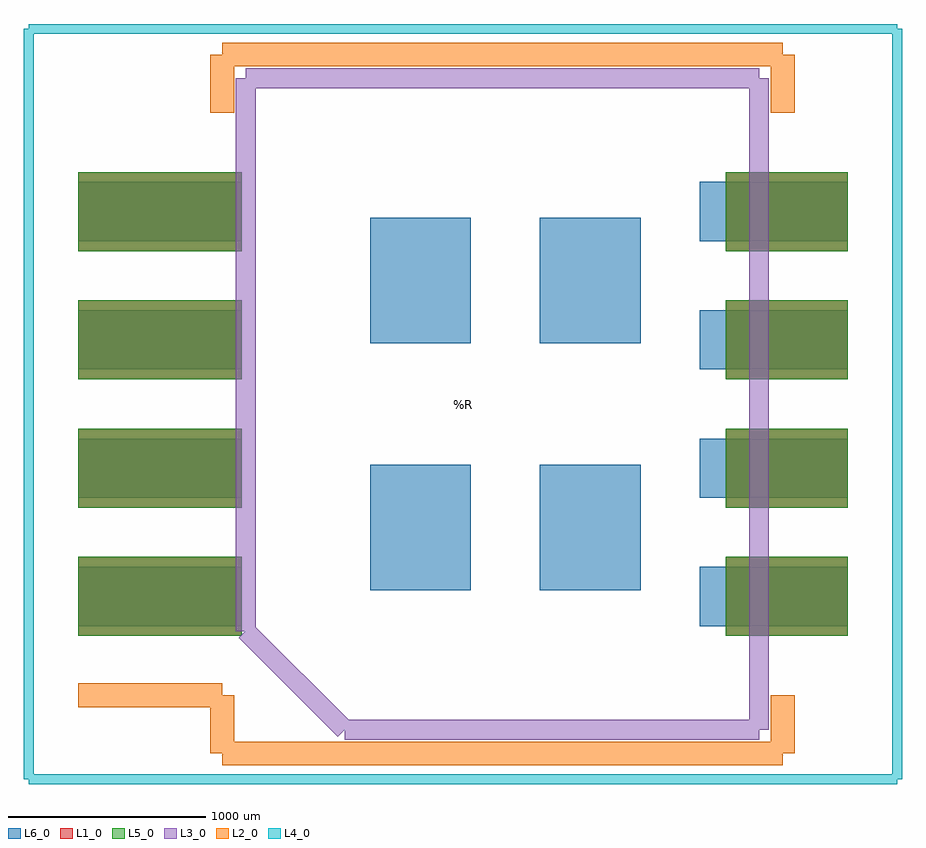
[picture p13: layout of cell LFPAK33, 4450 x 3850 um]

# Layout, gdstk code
import gdstk
lib = gdstk.Library(unit=1e-6, precision=1e-09)
def R(c, l, rs):  # rectangles x0, y0, x1, y1
    for r in rs: c.add(gdstk.rectangle(r[:2], r[2:], *l))
def A(c, l, x, y, w, h, nx, ny, dx, dy):  # array of equal rectangles
    R(c, l, [(x+i*dx, y+j*dy, x+i*dx+w, y+j*dy+h) for i in range(nx) for j in range(ny)])
L1_0 = (1, 0)
L2_0 = (2, 0)
L3_0 = (3, 0)
L4_0 = (4, 0)
L5_0 = (5, 0)
L6_0 = (6, 0)

lfpak33 = lib.new_cell('LFPAK33')
A(lfpak33, L1_0, -1950, -1175, 830, 400, 1, 4, 0, 650)
A(lfpak33, L1_0, 1330, -1175, 620, 400, 1, 4, 0, 650)
A(lfpak33, L5_0, -1950, -1175, 830, 400, 1, 4, 0, 650)
A(lfpak33, L5_0, 1330, -1175, 620, 400, 1, 4, 0, 650)
A(lfpak33, L6_0, -1950, -1125, 830, 300, 1, 4, 0, 650)
A(lfpak33, L6_0, 1200, -1125, 750, 300, 1, 4, 0, 650)
R(lfpak33, L6_0, [(-470,-944,40,-308), (390,-944,900,-308), (-470,308,40,944), (390,308,900,944)])
lfpak33.add(gdstk.FlexPath([(-1220,1475),(-1220,1770)], 120, ends="flush", simple_path=True, layer=2, datatype=0))  # L2_0
lfpak33.add(gdstk.FlexPath([(-1220,1770),(1620,1770)], 120, ends="flush", simple_path=True, layer=2, datatype=0))  # L2_0
lfpak33.add(gdstk.FlexPath([(1620,1770),(1620,1475)], 120, ends="flush", simple_path=True, layer=2, datatype=0))  # L2_0
lfpak33.add(gdstk.FlexPath([(1620,-1475),(1620,-1770)], 120, ends="flush", simple_path=True, layer=2, datatype=0))  # L2_0
lfpak33.add(gdstk.FlexPath([(1620,-1770),(-1220,-1770)], 120, ends="flush", simple_path=True, layer=2, datatype=0))  # L2_0
lfpak33.add(gdstk.FlexPath([(-1220,-1770),(-1220,-1475)], 120, ends="flush", simple_path=True, layer=2, datatype=0))  # L2_0
lfpak33.add(gdstk.FlexPath([(-600,-1650),(1500,-1650)], 100, ends="flush", simple_path=True, layer=3, datatype=0))  # L3_0
lfpak33.add(gdstk.FlexPath([(-1100,-1150),(-1100,1650)], 100, ends="flush", simple_path=True, layer=3, datatype=0))  # L3_0
lfpak33.add(gdstk.FlexPath([(-1100,1650),(1500,1650)], 100, ends="flush", simple_path=True, layer=3, datatype=0))  # L3_0
lfpak33.add(gdstk.FlexPath([(1500,1650),(1500,-1650)], 100, ends="flush", simple_path=True, layer=3, datatype=0))  # L3_0
lfpak33.add(gdstk.FlexPath([(2200,-1900),(2200,1900)], 50, ends="flush", simple_path=True, layer=4, datatype=0))  # L4_0
lfpak33.add(gdstk.FlexPath([(-2200,-1900),(2200,-1900)], 50, ends="flush", simple_path=True, layer=4, datatype=0))  # L4_0
lfpak33.add(gdstk.FlexPath([(-2200,1900),(2200,1900)], 50, ends="flush", simple_path=True, layer=4, datatype=0))  # L4_0
lfpak33.add(gdstk.FlexPath([(-2200,1900),(-2200,-1900)], 50, ends="flush", simple_path=True, layer=4, datatype=0))  # L4_0
lfpak33.add(gdstk.FlexPath([(-1950,-1475),(-1220,-1475)], 120, ends="flush", simple_path=True, layer=2, datatype=0))  # L2_0
lfpak33.add(gdstk.FlexPath([(-600,-1650),(-1100,-1150)], 100, ends="flush", simple_path=True, layer=3, datatype=0))  # L3_0
lfpak33.add(gdstk.Label('REF**', (0,-2550), layer=2, texttype=0))
lfpak33.add(gdstk.Label('LFPAK33', (0,2640), layer=3, texttype=0))
lfpak33.add(gdstk.Label('%R', (0,0), layer=3, texttype=0))

lib.write_gds('LFPAK33.gds')
